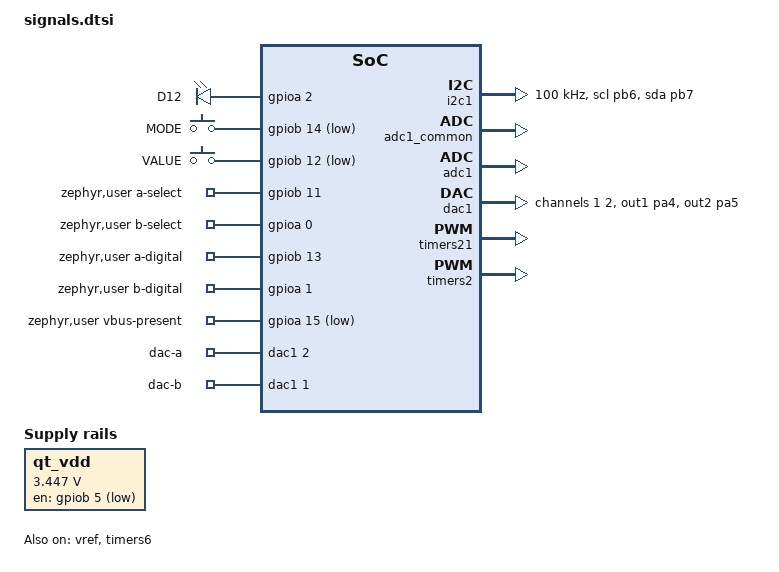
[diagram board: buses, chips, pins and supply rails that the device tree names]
/* SPDX-License-Identifier: MIT */

#include <zephyr/dt-bindings/dma/stm32_dma.h>
#include <zephyr/dt-bindings/input/input-event-codes.h>

/ {
	aliases {
		led0 = &diagnostic_led;
		sw0 = &mode_button;
		sw1 = &value_button;
		volt-sensor0 = &vref;
	};

	leds {
		compatible = "gpio-leds";

		diagnostic_led: diagnostic-led {
			gpios = <&gpioa 2 GPIO_ACTIVE_HIGH>;
			label = "D12";
		};
	};

	buttons {
		compatible = "gpio-keys";

		mode_button: mode-button {
			gpios = <&gpiob 14 (GPIO_PULL_UP | GPIO_ACTIVE_LOW)>;
			zephyr,code = <INPUT_KEY_0>;
			label = "MODE";
		};

		value_button: value-button {
			gpios = <&gpiob 12 (GPIO_PULL_UP | GPIO_ACTIVE_LOW)>;
			zephyr,code = <INPUT_KEY_1>;
			label = "VALUE";
		};
	};

	qt_vdd: qt-vdd {
		compatible = "regulator-fixed";
		regulator-name = "QT_VDD";
		regulator-min-microvolt = <3447000>;
		regulator-max-microvolt = <3447000>;
		regulator-boot-off;
		enable-gpios = <&gpiob 5 GPIO_ACTIVE_LOW>;
	};

	zephyr,user {
		/* A high selector connects its buffered DAC to the output. */
		a-select-gpios = <&gpiob 11 GPIO_ACTIVE_HIGH>;
		b-select-gpios = <&gpioa 0 GPIO_ACTIVE_HIGH>;
		a-digital-gpios = <&gpiob 13 GPIO_ACTIVE_HIGH>;
		b-digital-gpios = <&gpioa 1 GPIO_ACTIVE_HIGH>;
		vbus-present-gpios = <&gpioa 15 GPIO_ACTIVE_LOW>;

		io-channels = <&dac1 2>, <&dac1 1>;
		io-channel-names = "dac-a", "dac-b";
	};
};

/* J6 has external pull-ups to the switched QT_VDD rail. */
&i2c1_scl_pb6 {
	/delete-property/ bias-pull-up;
};

&i2c1_sda_pb7 {
	/delete-property/ bias-pull-up;
};

zephyr_i2c: &i2c1 {
	pinctrl-0 = <&i2c1_scl_pb6 &i2c1_sda_pb7>;
	pinctrl-1 = <&analog_pb6 &analog_pb7>;
	pinctrl-names = "default", "sleep";
	clock-frequency = <I2C_BITRATE_STANDARD>;
	status = "okay";
};

&adc1_common {
	st,adc-clock-source = "SYNC";
	st,adc-prescaler = <4>;
	vref-mv = <3447>;
	status = "okay";
};

/* VREFINT is internal to the MCU and takes no external ADC pin. */
&adc1 {
	status = "okay";
};

&vref {
	status = "okay";
};

&dac1 {
	pinctrl-0 = <&dac_out1_pa4 &dac_out2_pa5>;
	pinctrl-names = "default";
	/* DAC channel 1 issues one request per packed A/B sample pair. */
	dmas = <&dma1 2 9 (STM32_DMA_PERIPH_TX | STM32_DMA_32BITS |
			   STM32_DMA_MODE_CYCLIC | STM32_DMA_PRIORITY_HIGH)>;
	dma-names = "dual";
	status = "okay";
	#address-cells = <1>;
	#size-cells = <0>;

	dac_b: channel@1 {
		reg = <1>;
		zephyr,resolution = <12>;
		zephyr,buffered;
		zephyr,vref-mv = <3447>;
	};

	dac_a: channel@2 {
		reg = <2>;
		zephyr,resolution = <12>;
		zephyr,buffered;
		zephyr,vref-mv = <3447>;
	};
};

/* PWM is opt-in. The same pads are GPIO sources for the digital routes. */
&timers21 {
	status = "okay";

	pwm_a: pwm {
		pinctrl-0 = <&tim21_ch1_pb13>;
		pinctrl-names = "default";
	};
};

&timers2 {
	status = "okay";

	pwm_b: pwm {
		pinctrl-0 = <&tim2_ch2_pa1>;
		pinctrl-names = "default";
	};
};

/* TIM6 drives both DACs via TRGO when the waveform engine is running. */
&timers6 {
	status = "okay";
};

&dma1 {
	status = "okay";
};
